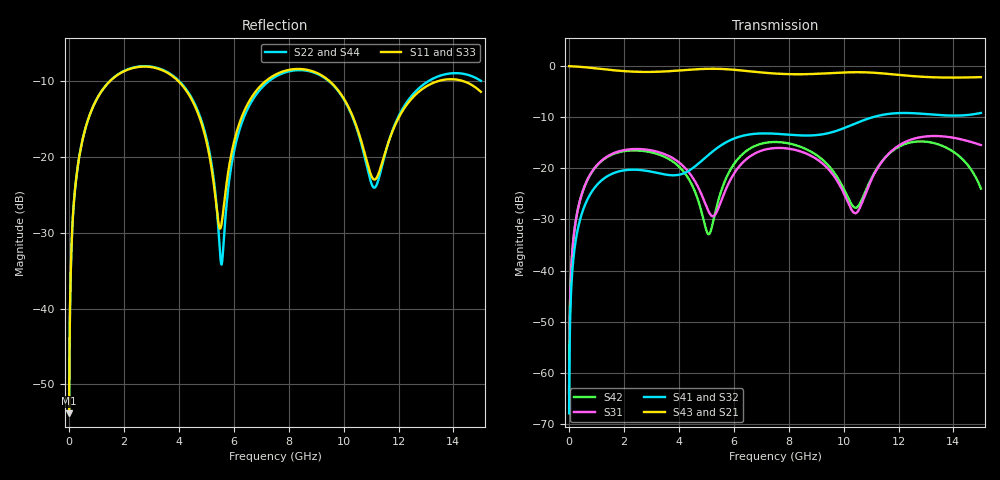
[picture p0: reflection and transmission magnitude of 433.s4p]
! Created with skrf 1.8.0 (http://scikit-rf.org).
# GHz S RI R 50.0
!freq ReS11 ImS11 ReS12 ImS12 ReS13 ImS13
! ReS14 ImS14
! ReS21 ImS21 ReS22 ImS22 ReS23 ImS23
! ReS24 ImS24
! ReS31 ImS31 ReS32 ImS32 ReS33 ImS33
! ReS34 ImS34
! ReS41 ImS41 ReS42 ImS42 ReS43 ImS43
! ReS44 ImS44
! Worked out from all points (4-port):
!   2499 points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, 5 MHz to 15 GHz, reference 50 ohm
!   strongest paths, dB at 5 MHz, 3.476 GHz, 7.19 GHz, 11.1 GHz, 15 GHz:
!     S43: 0.0, -1.0, -1.3, -1.3, -2.2
!     S21: 0.0, -1.1, -1.3, -1.3, -2.1
!     S41: -67.9, -21.2, -13.2, -9.9, -9.2
!     S32: -67.9, -21.2, -13.2, -9.9, -9.2
!     S31: -64.0, -17.2, -16.3, -21.3, -15.4
!     S42: -64.0, -17.7, -15.0, -21.1, -24.0
!   lowest |S11| = -53.8 dB at 5 MHz (marker M1), VSWR 1.00, Z = 50.2 + j0.124 ohm
!   |S11| at or under -10 dB: start of sweep to 1.496 GHz; 3.98 GHz to 7.165 GHz (3.185 GHz wide, 57.2 % of centre); 9.487 GHz to 13.45 GHz (3.962 GHz wide, 34.5 % of centre) (the widest 3 of 4)
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0.005  0.00162 0.00124  0.9983 -0.00316  8.08e-05 0.000622  -7.86e-05 -0.000394
       0.9983 -0.00316  0.00162 0.00124  -7.86e-05 -0.000394  8.07e-05 0.000622
       8.08e-05 0.000622  -7.86e-05 -0.000394  0.00162 0.00124  0.9983 -0.00316
       -7.86e-05 -0.000394  8.07e-05 0.000622  0.9983 -0.00316  0.00162 0.00124
0.3626511  0.0296 0.0929  0.9591 -0.2263  0.014 0.042  -0.0114 -0.0261
           0.9591 -0.2263  0.0297 0.0929  -0.0114 -0.0261  0.0133 0.0422
           0.014 0.042  -0.0114 -0.0261  0.0296 0.0929  0.9591 -0.2263
           -0.0114 -0.0261  0.0133 0.0422  0.9591 -0.2263  0.0297 0.0929
1.619545  0.2802 0.1768  0.5266 -0.7433  0.1308 0.051  -0.0896 -0.00262
          0.5266 -0.7433  0.2826 0.175  -0.0895 -0.00267  0.1239 0.0609
          0.1308 0.051  -0.0895 -0.00267  0.2802 0.1767  0.5266 -0.7433
          -0.0896 -0.00262  0.1239 0.0609  0.5266 -0.7433  0.2826 0.175
5.558566  0.0344 0.0118  -0.9367 -0.0426  -0.0224 0.0438  -0.00249 0.1692
          -0.9367 -0.0426  0.0196 0.000314  -0.00319 0.1692  0.0364 0.05
          -0.0224 0.0438  -0.00319 0.1692  0.0354 0.0114  -0.9367 -0.043
          -0.00249 0.1692  0.0364 0.05  -0.9367 -0.043  0.0185 -0.000129
8.584827  0.3754 -0.0396  0.0136 0.8321  0.1184 -0.0773  0.2003 -0.0613
          0.0136 0.8321  0.3703 -0.0317  0.2 -0.0592  0.1222 -0.0974
          0.1184 -0.0773  0.2 -0.0592  0.373 -0.0426  0.0134 0.8331
          0.2003 -0.0613  0.1222 -0.0974  0.0134 0.8331  0.3675 -0.0282
11.35473  0.0792 0.0329  0.8513 -0.00987  0.0353 0.1063  -0.0209 -0.3301
          0.8513 -0.00987  0.0712 0.0384  -0.0172 -0.3307  0.0241 0.1105
          0.0353 0.1063  -0.0172 -0.3307  0.0764 0.0394  0.8511 -0.0115
          -0.0209 -0.3301  0.0241 0.1105  0.8511 -0.0115  0.0744 0.0441
15  0.252 -0.0925  -0.3002 -0.7212  -0.033 -0.1657  -0.3117 0.1548
    -0.3002 -0.7212  0.2932 -0.1215  -0.3141 0.1501  0.0146 -0.0617
    -0.033 -0.1657  -0.3141 0.1501  0.2554 -0.0957  -0.2977 -0.7206
    -0.3117 0.1548  0.0146 -0.0617  -0.2977 -0.7206  0.2982 -0.1206
